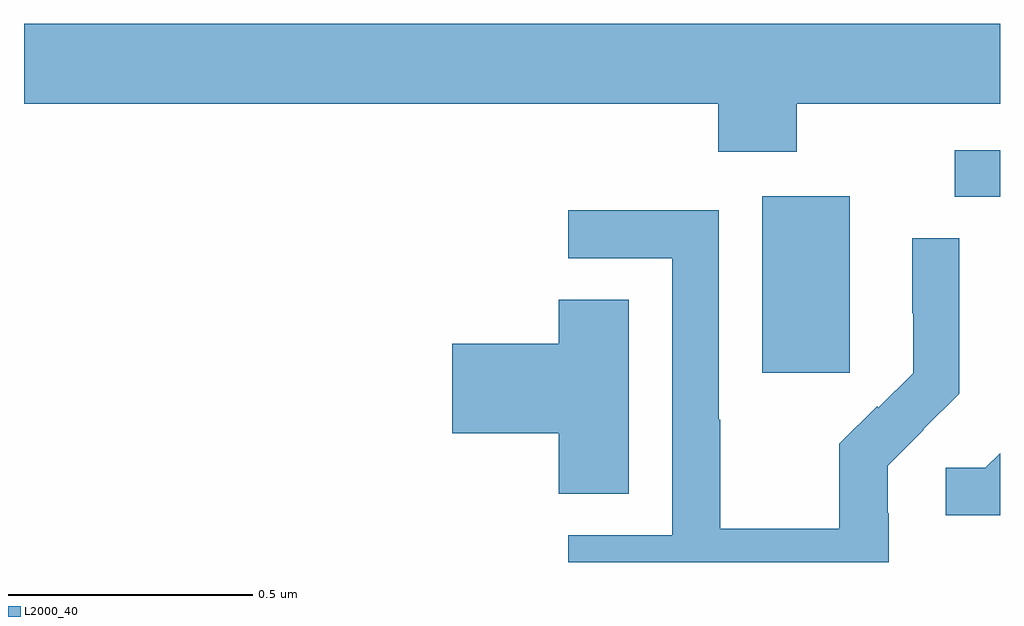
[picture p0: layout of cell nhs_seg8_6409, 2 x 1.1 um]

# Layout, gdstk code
import gdstk
lib = gdstk.Library(unit=1e-6, precision=1e-09)
def R(c, l, rs):  # rectangles x0, y0, x1, y1
    for r in rs: c.add(gdstk.rectangle(r[:2], r[2:], *l))
def P(c, l, *ps):  # polygons
    for p in ps: c.add(gdstk.Polygon(p, *l))
L2000_40 = (2000, 40)

nhs_seg8_6409 = lib.new_cell('nhs_seg8_6409')
R(nhs_seg8_6409, L2000_40, [(197.513,1109.289,197.692,1109.65), (197.907,1109.649,198,1109.745)])
P(nhs_seg8_6409, L2000_40, [(197.583,1109.84),(198,1109.84),(198,1110.004),(196,1110.004),(196,1109.84),(197.423,1109.84),(197.423,1109.741),(197.583,1109.741)],
  [(197.772,1109.001),(197.77,1109.001),(197.77,1109.098),(197.844,1109.172),(197.843,1109.173),(197.916,1109.246),(197.916,1109.564),(197.82,1109.564),(197.82,1109.41),(197.822,1109.41),(197.822,1109.288),(197.751,1109.217),(197.748,1109.22),(197.671,1109.143),(197.671,1108.969),(197.427,1108.969),(197.427,1109.192),(197.424,1109.192),(197.424,1109.622),(197.115,1109.622),(197.115,1109.523),(197.328,1109.523),(197.328,1108.956),(197.115,1108.956),(197.115,1108.9),(197.772,1108.9)],
  [(197.239,1109.438),(197.096,1109.438),(197.096,1109.348),(196.878,1109.348),(196.878,1109.165),(197.096,1109.165),(197.096,1109.041),(197.239,1109.041)],
  [(198,1109.124),(197.97,1109.094),(197.889,1109.094),(197.889,1108.997),(198,1108.997)])

lib.write_gds('nhs_seg8_6409.gds')
